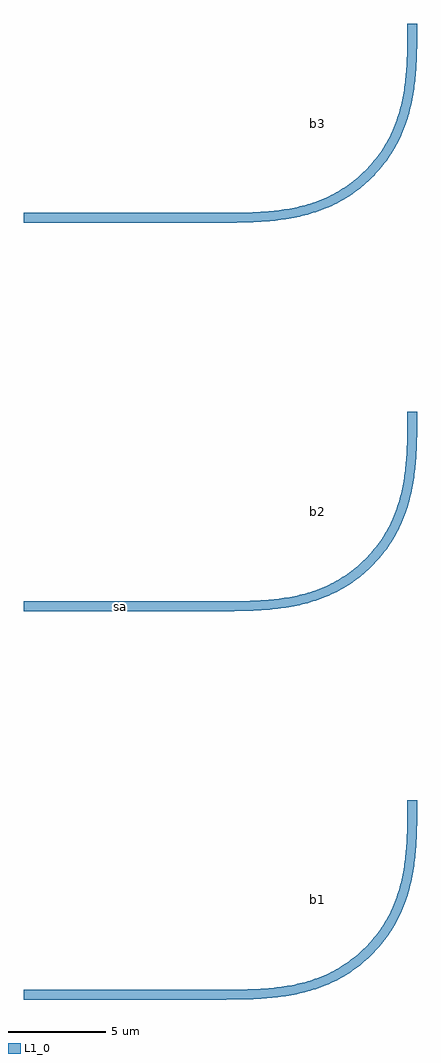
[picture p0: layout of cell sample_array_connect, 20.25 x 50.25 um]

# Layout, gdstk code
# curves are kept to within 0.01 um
import gdstk
lib = gdstk.Library(unit=1e-6, precision=1e-09)
def R(c, l, rs):  # rectangles x0, y0, x1, y1
    for r in rs: c.add(gdstk.rectangle(r[:2], r[2:], *l))
def P(c, l, *ps):  # polygons
    for p in ps: c.add(gdstk.Polygon(p, *l))
L1_0 = (1, 0)

straight_gdsfactorypcomp = lib.new_cell('straight_gdsfactorypcomponentspwaveguidespstraight_L10__f2286423')
R(straight_gdsfactorypcomp, L1_0, [(0,-0.25,10,0.25)])

bend_euler_gdsfactorypco = lib.new_cell('bend_euler_gdsfactorypcomponentspbendspbend_euler_RNone_387600b2')
P(bend_euler_gdsfactorypco, L1_0, [(0,-0.25),(0,0.25),(1.655,0.269),(2.338,0.305),(2.881,0.353),(3.42,0.424),(3.952,0.52),(4.477,0.647),(4.99,0.806),(5.365,0.949),(5.731,1.113),(6.087,1.299),(6.431,1.505),(6.762,1.731),(7.079,1.976),(7.575,2.425),(8.024,2.921),(8.269,3.238),(8.495,3.569),(8.701,3.913),(8.887,4.269),(9.051,4.635),(9.194,5.01),(9.353,5.523),(9.48,6.048),(9.576,6.58),(9.647,7.119),(9.695,7.662),(9.731,8.345),(9.75,10),(10.25,10),(10.235,8.468),(10.203,7.767),(10.158,7.205),(10.091,6.644),(10.023,6.224),(9.907,5.668),(9.797,5.254),(9.618,4.711),(9.457,4.312),(9.273,3.922),(9.066,3.545),(8.756,3.061),(8.5,2.715),(8.224,2.385),(7.928,2.072),(7.615,1.776),(7.285,1.5),(6.939,1.244),(6.455,0.934),(6.078,0.727),(5.688,0.543),(5.289,0.382),(4.746,0.203),(4.332,0.093),(3.776,-0.023),(3.356,-0.091),(2.795,-0.158),(2.233,-0.203),(1.532,-0.235)])

sample_array_connect = lib.new_cell('sample_array_connect')
r = gdstk.Reference(straight_gdsfactorypcomp, (0,0)); r.repetition = gdstk.Repetition(1, 3, v1=(0,0), v2=(0,20)); sample_array_connect.add(r)
sample_array_connect.add(gdstk.Reference(bend_euler_gdsfactorypco, (10,0)))
sample_array_connect.add(gdstk.Reference(bend_euler_gdsfactorypco, (10,20)))
sample_array_connect.add(gdstk.Reference(bend_euler_gdsfactorypco, (10,40)))
sample_array_connect.add(gdstk.Label('sa', (5,20), layer=206, texttype=0))
sample_array_connect.add(gdstk.Label('b1', (15.125,4.875), layer=206, texttype=0))
sample_array_connect.add(gdstk.Label('b2', (15.125,24.875), layer=206, texttype=0))
sample_array_connect.add(gdstk.Label('b3', (15.125,44.875), layer=206, texttype=0))

lib.write_gds('sample_array_connect.gds')
